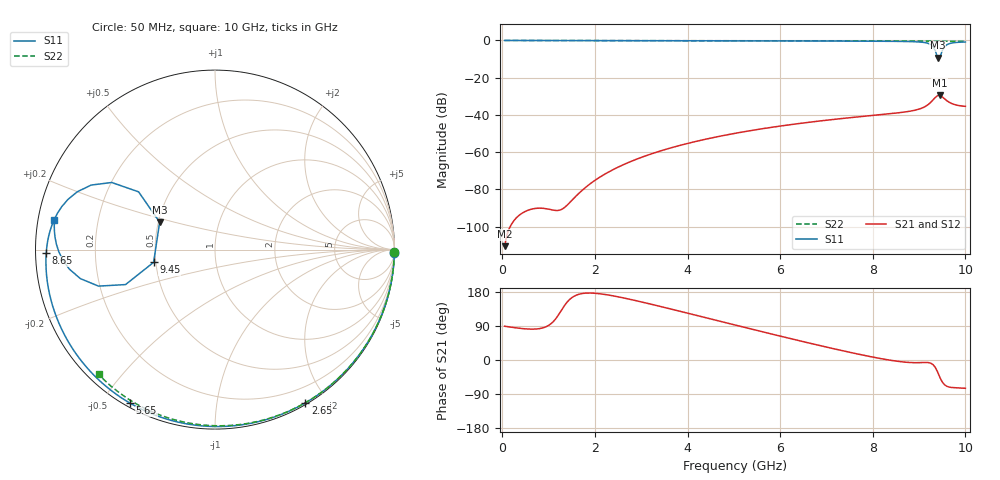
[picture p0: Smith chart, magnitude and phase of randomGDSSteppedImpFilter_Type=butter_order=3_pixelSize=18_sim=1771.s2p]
! freq	dB(S11)	phase(S11)	dB(S12)	phase(S12)
!  dB(S21)	phase(S21)	dB(S22)	phase(S22)
!S-par simulation data
#  GHz  S  DB  R 50
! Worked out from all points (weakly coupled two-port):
!   200 points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, 50 MHz to 10 GHz, reference 50 ohm
!   highest |S21| = -29.52 dB at 9.45 GHz (marker M1); lowest = -110.5 dB at 50 MHz (marker M2)
!   lowest |S11| = -9.3 dB at 9.4 GHz (marker M3), VSWR 2.05, Z = 25.4 + j8.81 ohm
!   |S11| at or under -10 dB: nowhere
!   |S22| runs from -0.4 to 0.0 dB; largest |S21 - S12| = 0
!   S11 on the Smith chart (normalised r, x): 50 MHz: 0, -98; 2.65 GHz: 0.02, -1.75; 5.65 GHz: 0.02, -0.59; 8.65 GHz: 0.03, -0.01; 9.45 GHz: 0.49, -0.08; 10 GHz: 0.05, +0.09
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0.05  -0.00 -1.2  -110.45 89.1  -110.45 89.1  -0.00 -0.8
0.85  -0.02 -19.6  -90.07 84.0  -90.07 84.0  -0.02 -13.0
1.75  -0.05 -39.9  -79.91 175.8  -79.91 175.8  -0.03 -26.5
2.15  -0.06 -48.7  -72.72 174.1  -72.72 174.1  -0.04 -32.5
2.65  -0.08 -59.5  -66.31 163.0  -66.31 163.0  -0.05 -39.8
3.4  -0.10 -75.1  -59.44 141.7  -59.44 141.7  -0.07 -50.5
4.2  -0.13 -91.2  -54.10 117.5  -54.10 117.5  -0.09 -61.6
5.05  -0.16 -107.6  -49.76 91.6  -49.76 91.6  -0.11 -73.0
5.65  -0.19 -118.9  -47.26 73.5  -47.26 73.5  -0.13 -80.9
6.7  -0.27 -138.5  -43.69 42.6  -43.69 42.6  -0.18 -94.1
8.35  -0.45 -171.4  -39.39 -0.1  -39.39 -0.1  -0.29 -113.9
8.65  -0.53 -178.8  -38.55 -5.1  -38.55 -5.1  -0.31 -117.4
8.95  -0.73 171.5  -37.22 -7.1  -37.22 -7.1  -0.34 -120.9
9.15  -1.26 161.1  -35.21 -6.4  -35.21 -6.4  -0.36 -123.2
9.3  -3.27 147.0  -31.97 -12.0  -31.97 -12.0  -0.37 -125.0
9.35  -5.45 142.9  -30.61 -19.5  -30.61 -19.5  -0.38 -125.5
9.4  -9.27 153.6  -29.61 -31.7  -29.61 -31.7  -0.38 -126.1
9.45  -9.13 -168.3  -29.52 -46.1  -29.52 -46.1  -0.38 -126.7
9.5  -5.43 -158.6  -30.28 -58.0  -30.28 -58.0  -0.39 -127.3
9.55  -3.35 -162.6  -31.35 -65.4  -31.35 -65.4  -0.39 -127.9
9.65  -1.73 -172.4  -33.18 -71.5  -33.18 -71.5  -0.40 -129.0
10  -0.83 169.6  -35.38 -74.7  -35.38 -74.7  -0.44 -133.1
